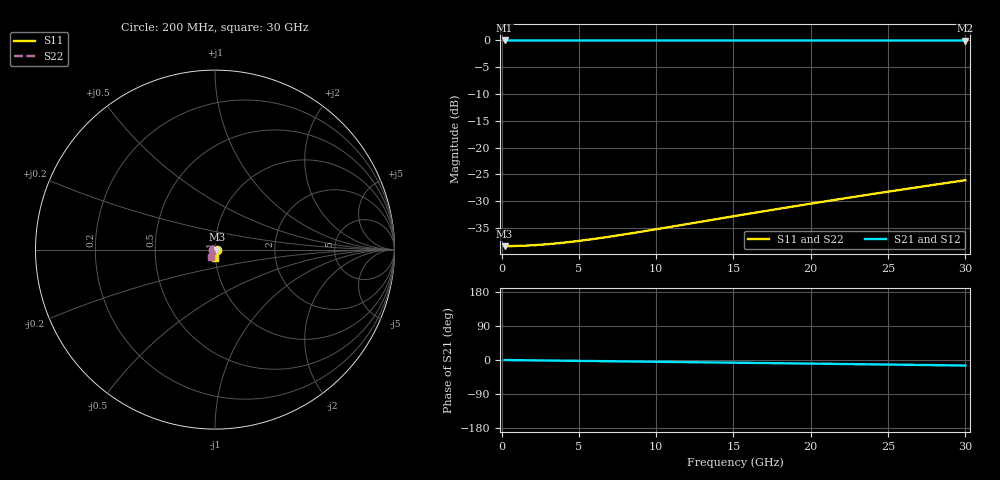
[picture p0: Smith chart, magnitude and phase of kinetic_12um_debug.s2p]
! Touchstone file exported from HFSS 2026.1.0
!  Generated:  12:51:24 PM Aug 10, 2026
!  Design:  HFSSDesign_Kinetic_debug
!  Project:  Project1
!  Setup:  Setup1
!  Solution:  Sweep_discrete_debug
! Variables:
!  port_below = 1um
!  port_width = 30um
!  stub_length = 12um
# GHz S MA R 50.000000
! Terminal data exported
! Port[1] = Port1
! Port[2] = Port2
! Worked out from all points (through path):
!   61 points, 200 MHz to 30 GHz, reference 50 ohm
!   highest |S21| = 0.00 dB at 200 MHz (marker M1); lowest = 0.0 dB at 30 GHz (marker M2)
!   group delay of S21, straight-line fit = 1.35 ps
!   lowest |S11| = -38.4 dB at 200 MHz (marker M3), VSWR 1.02, Z = 51.2 - j0.0267 ohm
!   |S11| at or under -10 dB: start of sweep to end of sweep
!   |S22| runs from -38.4 to -26.1 dB; largest |S21 - S12| = 1.6e-12
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0.2  0.01198 -1.2  0.9999 -0.1  0.9999 -0.1  0.01198 -178.9
! Gamma 0 173.290563416906 0 171.113978763738
! Port Impedance 50 0 50 0
0.6966667  0.01201 -4.3  0.9999 -0.3  0.9999 -0.3  0.01201 -176.3
1.193333  0.01206 -7.4  0.9999 -0.6  0.9999 -0.6  0.01206 -173.7
1.69  0.01215 -10.4  0.9999 -0.8  0.9999 -0.8  0.01215 -171.1
2.186667  0.01226 -13.4  0.9999 -1.0  0.9999 -1.0  0.01226 -168.6
2.683333  0.01241 -16.4  0.9999 -1.3  0.9999 -1.3  0.01241 -166.1
3.18  0.01257 -19.3  0.9999 -1.5  0.9999 -1.5  0.01257 -163.7
3.676667  0.01277 -22.1  0.9999 -1.7  0.9999 -1.7  0.01277 -161.3
4.173333  0.01299 -24.8  0.9999 -2.0  0.9999 -2.0  0.01299 -159.1
5.166667  0.01351 -30.1  0.9999 -2.4  0.9999 -2.4  0.01351 -154.7
6.16  0.01412 -35.0  0.9999 -2.9  0.9999 -2.9  0.01412 -150.8
6.656667  0.01446 -37.3  0.9999 -3.1  0.9999 -3.1  0.01446 -148.9
7.65  0.0152 -41.7  0.9999 -3.6  0.9999 -3.6  0.0152 -145.4
9.14  0.01645 -47.8  0.9999 -4.3  0.9999 -4.3  0.01645 -140.8
10.63  0.01785 -53.1  0.9998 -5.0  0.9998 -5.0  0.01785 -136.8
15.1  0.02291 -66.1  0.9997 -7.1  0.9997 -7.1  0.02291 -128.2
17.58333  0.02626 -71.7  0.9997 -8.3  0.9997 -8.3  0.02626 -124.9
20.06667  0.02999 -76.6  0.9996 -9.5  0.9996 -9.5  0.02999 -122.5
22.55  0.03415 -80.9  0.9994 -10.8  0.9994 -10.8  0.03415 -120.7
25.53  0.03973 -85.4  0.9992 -12.3  0.9992 -12.3  0.03973 -119.2
27.51667  0.04386 -88.1  0.999 -13.3  0.999 -13.3  0.04386 -118.5
30  0.04951 -91.3  0.9988 -14.6  0.9988 -14.6  0.04951 -117.9
